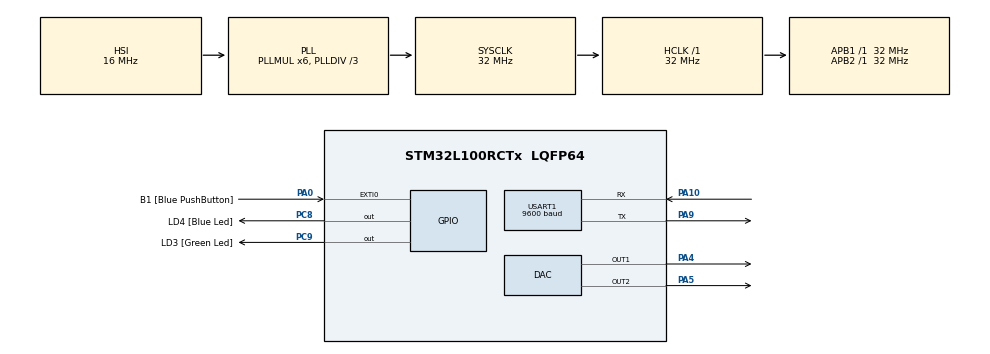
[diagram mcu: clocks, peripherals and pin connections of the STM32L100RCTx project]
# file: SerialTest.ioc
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DAC.DAC_Trigger=DAC_TRIGGER_SOFTWARE
DAC.DAC_Trigger2=DAC_TRIGGER_SOFTWARE
Dma.DAC_CH1.0.Direction=DMA_MEMORY_TO_PERIPH
Dma.DAC_CH1.0.Instance=DMA1_Channel2
Dma.DAC_CH1.0.MemDataAlignment=DMA_MDATAALIGN_HALFWORD
Dma.DAC_CH1.0.MemInc=DMA_MINC_ENABLE
Dma.DAC_CH1.0.Mode=DMA_CIRCULAR
Dma.DAC_CH1.0.PeriphDataAlignment=DMA_PDATAALIGN_HALFWORD
Dma.DAC_CH1.0.PeriphInc=DMA_PINC_DISABLE
Dma.DAC_CH1.0.Priority=DMA_PRIORITY_LOW
Dma.Request0=DAC_CH1
Dma.Request1=USART1_TX
Dma.Request2=USART1_RX
Dma.USART1_RX.2.Direction=DMA_PERIPH_TO_MEMORY
Dma.USART1_RX.2.Instance=DMA1_Channel5
Dma.USART1_RX.2.MemDataAlignment=DMA_MDATAALIGN_BYTE
Dma.USART1_RX.2.MemInc=DMA_MINC_ENABLE
Dma.USART1_RX.2.Mode=DMA_NORMAL
Dma.USART1_RX.2.PeriphDataAlignment=DMA_PDATAALIGN_BYTE
Dma.USART1_RX.2.PeriphInc=DMA_PINC_DISABLE
Dma.USART1_RX.2.Priority=DMA_PRIORITY_VERY_HIGH
Dma.USART1_TX.1.Direction=DMA_MEMORY_TO_PERIPH
Dma.USART1_TX.1.Instance=DMA1_Channel4
Dma.USART1_TX.1.MemDataAlignment=DMA_MDATAALIGN_BYTE
Dma.USART1_TX.1.MemInc=DMA_MINC_ENABLE
Dma.USART1_TX.1.Mode=DMA_NORMAL
Dma.USART1_TX.1.PeriphDataAlignment=DMA_PDATAALIGN_BYTE
Dma.USART1_TX.1.PeriphInc=DMA_PINC_DISABLE
Dma.USART1_TX.1.Priority=DMA_PRIORITY_VERY_HIGH
Mcu.Family=STM32L1
Mcu.Name=STM32L100RCTx
Mcu.Package=LQFP64
NVIC.DMA1_Channel2_IRQn=true\:0\:0\:false\:false\:true\:false
NVIC.DMA1_Channel4_IRQn=true\:0\:0\:false\:false\:true\:false
NVIC.DMA1_Channel5_IRQn=true\:0\:0\:false\:false\:true\:false
NVIC.PriorityGroup=NVIC_PRIORITYGROUP_0
NVIC.USART1_IRQn=true\:0\:0\:false\:false\:true\:true
PA0-WKUP1.GPIO_Label=B1 [Blue PushButton]
PA0-WKUP1.GPIO_ModeDefaultEXTI=GPIO_MODE_EVT_RISING
PA0-WKUP1.Signal=GPXTI0
PA10.Mode=Asynchronous
PA10.Signal=USART1_RX
PA13.GPIO_Label=SWDIO
PA13.Mode=Serial_Wire
PA13.Signal=SYS_JTMS-SWDIO
PA14.GPIO_Label=SWCLK
PA14.Mode=Serial_Wire
PA14.Signal=SYS_JTCK-SWCLK
PA4.Signal=COMP_DAC1_group
PA5.Signal=COMP_DAC2_group
PA9.Mode=Asynchronous
PA9.Signal=USART1_TX
PB3.GPIO_Label=SWO
PB3.Signal=SYS_JTDO-TRACESWO
PC14-OSC32_IN.GPIO_Label=PC14-OSC32_IN
PC14-OSC32_IN.Signal=RCC_OSC32_IN
PC15-OSC32_OUT.GPIO_Label=PC15-OSC32_OUT
PC15-OSC32_OUT.Signal=RCC_OSC32_OUT
PC8.GPIO_Label=LD4 [Blue Led]
PC8.Signal=GPIO_Output
PC9.GPIO_Label=LD3 [Green Led]
PC9.Signal=GPIO_Output
PH0-OSC_IN.GPIO_Label=PH0-OSC_IN
PH0-OSC_IN.Mode=HSE-External-Clock-Source
PH0-OSC_IN.Signal=RCC_OSC_IN
PH1-OSC_OUT.GPIO_Label=PH1-OSC_OUT
PH1-OSC_OUT.Signal=RCC_OSC_OUT
ProjectManager.HeapSize=0x200
ProjectManager.StackSize=0x400
ProjectManager.TargetToolchain=SW4STM32
RCC.48MHZClocksFreq_Value=48000000
RCC.AHBFreq_Value=32000000
RCC.APB1Freq_Value=32000000
RCC.APB1TimFreq_Value=32000000
RCC.APB2Freq_Value=32000000
RCC.APB2TimFreq_Value=32000000
RCC.HCLKFreq_Value=32000000
RCC.HSE_VALUE=8000000
RCC.HSI_VALUE=16000000
RCC.LSEState=RCC_LSE_ON
RCC.LSE_VALUE=32768
RCC.MSI_VALUE=2097000
RCC.PLLDIV=RCC_PLL_DIV3
RCC.PLLMUL=RCC_PLL_MUL6
RCC.RTCClockSelectionVirtual=RCC_RTCCLKSOURCE_LSE
RCC.SYSCLKFreq_VALUE=32000000
RCC.SYSCLKSource=RCC_SYSCLKSOURCE_PLLCLK
RCC.USBOutput=48000000
RCC.VCOOutputFreq_Value=96000000
SH.COMP_DAC1_group.0=DAC_OUT1,DAC_OUT1
SH.COMP_DAC2_group.0=DAC_OUT2,DAC_OUT2
USART1.BaudRate=9600
USART1.VirtualMode=VM_ASYNC
board=32L100CDISCOVERY

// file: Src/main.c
/**
  ******************************************************************************
  * @file           : main.c
  * @brief          : Main program body
  ******************************************************************************
  ** This notice applies to any and all portions of this file
  * that are not between comment pairs USER CODE BEGIN and
  * USER CODE END. Other portions of this file, whether
  * inserted by the user or by software development tools
  * are owned by their respective copyright owners.
  *
  * COPYRIGHT(c) 2018 STMicroelectronics
  *
  * Redistribution and use in source and binary forms, with or without modification,
  * are permitted provided that the following conditions are met:
  *   1. Redistributions of source code must retain the above copyright notice,
  *      this list of conditions and the following disclaimer.
  *   2. Redistributions in binary form must reproduce the above copyright notice,
  *      this list of conditions and the following disclaimer in the documentation
  *      and/or other materials provided with the distribution.
  *   3. Neither the name of STMicroelectronics nor the names of its contributors
  *      may be used to endorse or promote products derived from this software
  *      without specific prior written permission.
  *
  * THIS SOFTWARE IS PROVIDED BY THE COPYRIGHT HOLDERS AND CONTRIBUTORS "AS IS"
  * AND ANY EXPRESS OR IMPLIED WARRANTIES, INCLUDING, BUT NOT LIMITED TO, THE
  * IMPLIED WARRANTIES OF MERCHANTABILITY AND FITNESS FOR A PARTICULAR PURPOSE ARE
  * DISCLAIMED. IN NO EVENT SHALL THE COPYRIGHT HOLDER OR CONTRIBUTORS BE LIABLE
  * FOR ANY DIRECT, INDIRECT, INCIDENTAL, SPECIAL, EXEMPLARY, OR CONSEQUENTIAL
  * DAMAGES (INCLUDING, BUT NOT LIMITED TO, PROCUREMENT OF SUBSTITUTE GOODS OR
  * SERVICES; LOSS OF USE, DATA, OR PROFITS; OR BUSINESS INTERRUPTION) HOWEVER
  * CAUSED AND ON ANY THEORY OF LIABILITY, WHETHER IN CONTRACT, STRICT LIABILITY,
  * OR TORT (INCLUDING NEGLIGENCE OR OTHERWISE) ARISING IN ANY WAY OUT OF THE USE
  * OF THIS SOFTWARE, EVEN IF ADVISED OF THE POSSIBILITY OF SUCH DAMAGE.
  *
  ******************************************************************************
  */
#include "main.h"
#include <math.h>
#include <stdlib.h>
#include "stm32l1xx_hal.h"

DAC_HandleTypeDef hdac;
DMA_HandleTypeDef hdma_dac_ch1;

UART_HandleTypeDef huart1;
DMA_HandleTypeDef hdma_usart1_tx;
DMA_HandleTypeDef hdma_usart1_rx;

/* USER CODE BEGIN PV */
/* Private variables ---------------------------------------------------------*/
#define bufSize 16
const int Vref = 3;
const float full_throttle_voltage = 2.27;
const float right_full_lock_voltage = 0.64;
const float left_full_lock_voltage = 2.66;
const float full_brake_voltage = 1.27;
const float neutral_throttle_voltage = 1.61;
const float neutral_steering_voltage = 1.65;
uint8_t aRxBuffer[bufSize];
uint8_t throttlePart[3];
uint8_t steeringPart[8];
/* USER CODE END PV */

void SystemClock_Config(void);
static void MX_GPIO_Init(void);
static void MX_DMA_Init(void);
static void MX_USART1_UART_Init(void);
static void MX_DAC_Init(void);

/* USER CODE BEGIN PFP */
/* Private function prototypes -----------------------------------------------*/
int voltToDacVal(float volt);
float ThrottleCommandToVoltMap(int throttleVal);
float SteeringCommandToVoltMap(double steeringVal);
/* USER CODE END PFP */

int main(void)
{

  /* MCU Configuration----------------------------------------------------------*/

  /* Reset of all peripherals, Initializes the Flash interface and the Systick. */
  HAL_Init();

  /* Configure the system clock */
  SystemClock_Config();

  /* Initialize all configured peripherals */
  MX_GPIO_Init();
  MX_DMA_Init();
  MX_USART1_UART_Init();
  MX_DAC_Init();
  /* USER CODE BEGIN 2 */
  HAL_DAC_SetValue(&hdac, DAC_CHANNEL_1, DAC_ALIGN_12B_R, (uint32_t)voltToDacVal(neutral_throttle_voltage));
  HAL_DAC_SetValue(&hdac, DAC_CHANNEL_2, DAC_ALIGN_12B_R, (uint32_t)voltToDacVal(neutral_steering_voltage));
  HAL_DAC_Start(&hdac,DAC_CHANNEL_1);
  HAL_DAC_Start(&hdac,DAC_CHANNEL_2);
  HAL_UART_Receive_DMA(&huart1, (uint8_t *)aRxBuffer, sizeof(aRxBuffer));
  while (1)
  {
  /* USER CODE END WHILE */

  }

}

void SystemClock_Config(void)
{

  RCC_OscInitTypeDef RCC_OscInitStruct;
  RCC_ClkInitTypeDef RCC_ClkInitStruct;

    /**Configure the main internal regulator output voltage
    */
  __HAL_PWR_VOLTAGESCALING_CONFIG(PWR_REGULATOR_VOLTAGE_SCALE1);

    /**Initializes the CPU, AHB and APB busses clocks
    */
  RCC_OscInitStruct.OscillatorType = RCC_OSCILLATORTYPE_HSI;
  RCC_OscInitStruct.HSIState = RCC_HSI_ON;
  RCC_OscInitStruct.HSICalibrationValue = 16;
  RCC_OscInitStruct.PLL.PLLState = RCC_PLL_ON;
  RCC_OscInitStruct.PLL.PLLSource = RCC_PLLSOURCE_HSI;
  RCC_OscInitStruct.PLL.PLLMUL = RCC_PLL_MUL6;
  RCC_OscInitStruct.PLL.PLLDIV = RCC_PLL_DIV3;
  if (HAL_RCC_OscConfig(&RCC_OscInitStruct) != HAL_OK)
  {
    _Error_Handler(__FILE__, __LINE__);
  }

    /**Initializes the CPU, AHB and APB busses clocks
    */
  RCC_ClkInitStruct.ClockType = RCC_CLOCKTYPE_HCLK|RCC_CLOCKTYPE_SYSCLK
                              |RCC_CLOCKTYPE_PCLK1|RCC_CLOCKTYPE_PCLK2;
  RCC_ClkInitStruct.SYSCLKSource = RCC_SYSCLKSOURCE_PLLCLK;
  RCC_ClkInitStruct.AHBCLKDivider = RCC_SYSCLK_DIV1;
  RCC_ClkInitStruct.APB1CLKDivider = RCC_HCLK_DIV1;
  RCC_ClkInitStruct.APB2CLKDivider = RCC_HCLK_DIV1;

  if (HAL_RCC_ClockConfig(&RCC_ClkInitStruct, FLASH_LATENCY_1) != HAL_OK)
  {
    _Error_Handler(__FILE__, __LINE__);
  }

    /**Configure the Systick interrupt time
    */
  HAL_SYSTICK_Config(HAL_RCC_GetHCLKFreq()/1000);

    /**Configure the Systick
    */
  HAL_SYSTICK_CLKSourceConfig(SYSTICK_CLKSOURCE_HCLK);

  /* SysTick_IRQn interrupt configuration */
  HAL_NVIC_SetPriority(SysTick_IRQn, 0, 0);
}

/* DAC init function */
static void MX_DAC_Init(void)
{

  DAC_ChannelConfTypeDef sConfig;

    /**DAC Initialization
    */
  hdac.Instance = DAC;
  if (HAL_DAC_Init(&hdac) != HAL_OK)
  {
    _Error_Handler(__FILE__, __LINE__);
  }

    /**DAC channel OUT1 config
    */
  sConfig.DAC_Trigger = DAC_TRIGGER_SOFTWARE;
  sConfig.DAC_OutputBuffer = DAC_OUTPUTBUFFER_ENABLE;
  if (HAL_DAC_ConfigChannel(&hdac, &sConfig, DAC_CHANNEL_1) != HAL_OK)
  {
    _Error_Handler(__FILE__, __LINE__);
  }

    /**DAC channel OUT2 config
    */
  if (HAL_DAC_ConfigChannel(&hdac, &sConfig, DAC_CHANNEL_2) != HAL_OK)
  {
    _Error_Handler(__FILE__, __LINE__);
  }

}

/* USART1 init function */
static void MX_USART1_UART_Init(void)
{

  huart1.Instance = USART1;
  huart1.Init.BaudRate = 9600;
  huart1.Init.WordLength = UART_WORDLENGTH_8B;
  huart1.Init.StopBits = UART_STOPBITS_1;
  huart1.Init.Parity = UART_PARITY_NONE;
  huart1.Init.Mode = UART_MODE_TX_RX;
  huart1.Init.HwFlowCtl = UART_HWCONTROL_NONE;
  huart1.Init.OverSampling = UART_OVERSAMPLING_16;
  if (HAL_UART_Init(&huart1) != HAL_OK)
  {
    _Error_Handler(__FILE__, __LINE__);
  }

}

static void MX_DMA_Init(void)
{
  /* DMA controller clock enable */
  __HAL_RCC_DMA1_CLK_ENABLE();

  /* DMA interrupt init */
  /* DMA1_Channel2_IRQn interrupt configuration */
  HAL_NVIC_SetPriority(DMA1_Channel2_IRQn, 0, 0);
  HAL_NVIC_EnableIRQ(DMA1_Channel2_IRQn);
  /* DMA1_Channel4_IRQn interrupt configuration */
  HAL_NVIC_SetPriority(DMA1_Channel4_IRQn, 0, 0);
  HAL_NVIC_EnableIRQ(DMA1_Channel4_IRQn);
  /* DMA1_Channel5_IRQn interrupt configuration */
  HAL_NVIC_SetPriority(DMA1_Channel5_IRQn, 0, 0);
  HAL_NVIC_EnableIRQ(DMA1_Channel5_IRQn);

}

/** Configure pins as
        * Analog
        * Input
        * Output
        * EVENT_OUT
        * EXTI
*/
static void MX_GPIO_Init(void)
{

  GPIO_InitTypeDef GPIO_InitStruct;

  /* GPIO Ports Clock Enable */
  __HAL_RCC_GPIOC_CLK_ENABLE();
  __HAL_RCC_GPIOH_CLK_ENABLE();
  __HAL_RCC_GPIOA_CLK_ENABLE();
  __HAL_RCC_GPIOB_CLK_ENABLE();

  /*Configure GPIO pin Output Level */
  HAL_GPIO_WritePin(GPIOC, LD4_Pin|LD3_Pin, GPIO_PIN_RESET);

  /*Configure GPIO pin : B1_Pin */
  GPIO_InitStruct.Pin = B1_Pin;
  GPIO_InitStruct.Mode = GPIO_MODE_EVT_RISING;
  GPIO_InitStruct.Pull = GPIO_NOPULL;
  HAL_GPIO_Init(B1_GPIO_Port, &GPIO_InitStruct);

  /*Configure GPIO pins : LD4_Pin LD3_Pin */
  GPIO_InitStruct.Pin = LD4_Pin|LD3_Pin;
  GPIO_InitStruct.Mode = GPIO_MODE_OUTPUT_PP;
  GPIO_InitStruct.Pull = GPIO_NOPULL;
  GPIO_InitStruct.Speed = GPIO_SPEED_FREQ_LOW;
  HAL_GPIO_Init(GPIOC, &GPIO_InitStruct);

}

/* USER CODE BEGIN 4 */
void HAL_UART_RxCpltCallback(UART_HandleTypeDef *huart)
{
	//HAL_GPIO_WritePin(GPIOC, LD4_Pin, GPIO_PIN_SET);
	if(strcmp((char*)aRxBuffer,"OKOK")==0){
		HAL_GPIO_WritePin(GPIOC, LD3_Pin, GPIO_PIN_SET);
		uint8_t reply[] = "ACKNO";
		HAL_UART_Transmit_DMA(&huart1, (uint8_t *)reply, sizeof(reply));
	}
	double steeringPos;
	double throttlePos;
	memcpy(throttlePart,aRxBuffer,8*sizeof(uint8_t));
	memcpy(steeringPart,aRxBuffer+8,8*sizeof(uint8_t));
	throttlePos = atof(throttlePart);
	steeringPos = atof(steeringPart);
	HAL_DAC_SetValue(&hdac, DAC_CHANNEL_1, DAC_ALIGN_12B_R, (uint32_t)voltToDacVal(ThrottleCommandToVoltMap(throttlePos)));
	HAL_DAC_Start(&hdac,DAC_CHANNEL_1);
	HAL_DAC_SetValue(&hdac, DAC_CHANNEL_2, DAC_ALIGN_12B_R, (uint32_t)voltToDacVal(SteeringCommandToVoltMap(steeringPos)));
	HAL_DAC_Start(&hdac,DAC_CHANNEL_2);
	if(steeringPos<92){
		HAL_GPIO_WritePin(GPIOC, LD4_Pin, GPIO_PIN_SET);
	}
	else{
		HAL_GPIO_WritePin(GPIOC, LD4_Pin, GPIO_PIN_RESET);
	}
	HAL_UART_Transmit_DMA(&huart1, (uint8_t *)steeringPart, sizeof(steeringPart));
	HAL_UART_Receive_DMA(&huart1, (uint8_t *)aRxBuffer, sizeof(aRxBuffer));
}
void HAL_UART_TxCpltCallback(UART_HandleTypeDef *huart)
{

}
int voltToDacVal(float Volt){
	//Vref is 3 volts so to convert from number to output voltage -> OutVoltage = Vref *(inNumber/(2^12 - 1))
	//where 12 is DAC resolution or number of voltage steps
	return (int)((Volt*(pow(2,12)-1))/(Vref));
}
float ThrottleCommandToVoltMap(int throttleVal){
	float m =(full_throttle_voltage-full_brake_voltage)/200;
	float c =neutral_throttle_voltage-100*m;
	return m*throttleVal +c;
}
float SteeringCommandToVoltMap(double steeringVal){
	float m =(right_full_lock_voltage-left_full_lock_voltage)/2;
	float c = neutral_steering_voltage - 90*m;
	return (float)m*steeringVal +c;
}
/* USER CODE END 4 */

void _Error_Handler(char *file, int line)
{
  /* USER CODE BEGIN Error_Handler_Debug */
  /* User can add his own implementation to report the HAL error return state */
	while(1)
	  {
		  HAL_GPIO_TogglePin(GPIOC, LD4_Pin);
		  HAL_Delay(1000);
	  }
  /* USER CODE END Error_Handler_Debug */
}

/************************ (C) COPYRIGHT STMicroelectronics *****END OF FILE****/
